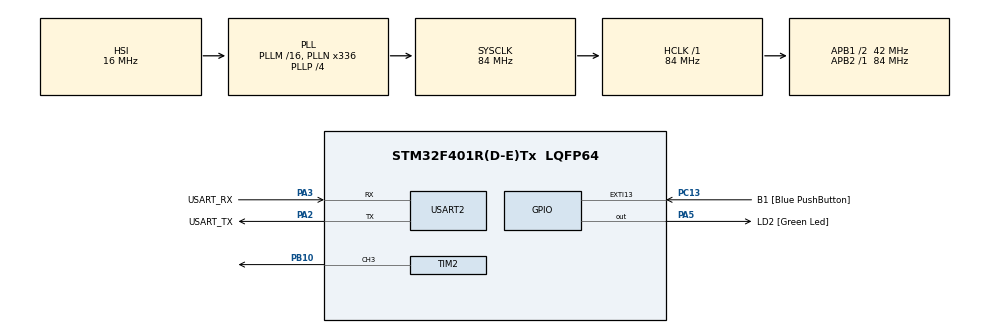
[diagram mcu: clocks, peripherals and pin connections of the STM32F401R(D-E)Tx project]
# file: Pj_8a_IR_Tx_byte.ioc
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Mcu.Family=STM32F4
Mcu.Name=STM32F401R(D-E)Tx
Mcu.Package=LQFP64
NVIC.PriorityGroup=NVIC_PRIORITYGROUP_0
NVIC.TIM3_IRQn=true\:0\:0\:false\:false\:true\:true\:true\:true
PA13.GPIO_Label=TMS
PA13.Mode=Serial_Wire
PA13.Signal=SYS_JTMS-SWDIO
PA14.GPIO_Label=TCK
PA14.Mode=Serial_Wire
PA14.Signal=SYS_JTCK-SWCLK
PA2.GPIO_Label=USART_TX
PA2.GPIO_Mode=GPIO_MODE_AF_PP
PA2.GPIO_PuPd=GPIO_NOPULL
PA2.GPIO_Speed=GPIO_SPEED_FREQ_LOW
PA2.Mode=Asynchronous
PA2.Signal=USART2_TX
PA3.GPIO_Label=USART_RX
PA3.GPIO_Mode=GPIO_MODE_AF_PP
PA3.GPIO_PuPd=GPIO_NOPULL
PA3.GPIO_Speed=GPIO_SPEED_FREQ_LOW
PA3.Mode=Asynchronous
PA3.Signal=USART2_RX
PA5.GPIO_Label=LD2 [Green Led]
PA5.GPIO_Mode=GPIO_MODE_OUTPUT_PP
PA5.GPIO_PuPd=GPIO_NOPULL
PA5.GPIO_Speed=GPIO_SPEED_FREQ_LOW
PA5.Signal=GPIO_Output
PB10.Signal=S_TIM2_CH3
PB3.GPIO_Label=SWO
PB3.Signal=SYS_JTDO-SWO
PC13-ANTI_TAMP.GPIO_Label=B1 [Blue PushButton]
PC13-ANTI_TAMP.GPIO_ModeDefaultEXTI=GPIO_MODE_IT_FALLING
PC13-ANTI_TAMP.GPIO_PuPd=GPIO_NOPULL
PC13-ANTI_TAMP.Signal=GPXTI13
PC14-OSC32_IN.Mode=LSE-External-Oscillator
PC14-OSC32_IN.Signal=RCC_OSC32_IN
PC15-OSC32_OUT.Mode=LSE-External-Oscillator
PC15-OSC32_OUT.Signal=RCC_OSC32_OUT
PH0\ -\ OSC_IN.Mode=HSE-External-Clock-Source
PH0\ -\ OSC_IN.Signal=RCC_OSC_IN
PH1\ -\ OSC_OUT.Mode=HSE-External-Clock-Source
PH1\ -\ OSC_OUT.Signal=RCC_OSC_OUT
ProjectManager.HeapSize=0x200
ProjectManager.StackSize=0x400
ProjectManager.TargetToolchain=STM32CubeIDE
RCC.48MHZClocksFreq_Value=48000000
RCC.AHBFreq_Value=84000000
RCC.APB1CLKDivider=RCC_HCLK_DIV2
RCC.APB1Freq_Value=42000000
RCC.APB1TimFreq_Value=84000000
RCC.APB2Freq_Value=84000000
RCC.APB2TimFreq_Value=84000000
RCC.CortexFreq_Value=84000000
RCC.HCLKFreq_Value=84000000
RCC.HSE_VALUE=8000000
RCC.HSI_VALUE=16000000
RCC.PLLN=336
RCC.PLLP=RCC_PLLP_DIV4
RCC.PLLQ=7
RCC.SYSCLKFreq_VALUE=84000000
RCC.SYSCLKSource=RCC_SYSCLKSOURCE_PLLCLK
RCC.VCOOutputFreq_Value=336000000
SH.S_TIM2_CH3.0=TIM2_CH3,PWM Generation3 CH3
TIM2.Channel-PWM\ Generation3\ CH3=TIM_CHANNEL_3
TIM2.Period=2210-1
TIM2.Pulse-PWM\ Generation3\ CH3=1105-1
TIM3.Period=35000-1
USART2.VirtualMode=VM_ASYNC
VP_TIM2_VS_ClockSourceINT.Mode=Internal
VP_TIM3_VS_ClockSourceINT.Mode=Internal
board=NUCLEO-F401RE

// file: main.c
/* USER CODE BEGIN Header */
/**
  ******************************************************************************
  * @file           : main.c
  * @brief          : Main program body
  ******************************************************************************
  * @attention
  *
  * Copyright (c) 2024 STMicroelectronics.
  * All rights reserved.
  *
  * This software is licensed under terms that can be found in the LICENSE file
  * in the root directory of this software component.
  * If no LICENSE file comes with this software, it is provided AS-IS.
  *
  ******************************************************************************
  */
/* USER CODE END Header */
#include "main.h"

/* USER CODE BEGIN Includes */

#include "stdio.h"
#include "string.h"

/* USER CODE END Includes */

TIM_HandleTypeDef htim2;
TIM_HandleTypeDef htim3;

UART_HandleTypeDef huart2;

/* USER CODE BEGIN PV */

int i = 0;

char c = 'S';

/* USER CODE END PV */

void SystemClock_Config(void);
static void MX_GPIO_Init(void);
static void MX_USART2_UART_Init(void);
static void MX_TIM2_Init(void);
static void MX_TIM3_Init(void);

/* USER CODE BEGIN 0 */

void IR_UART_Transmit_byte(){

	__HAL_TIM_CLEAR_IT(&htim3, TIM_IT_UPDATE);  //start TIM3
	HAL_TIM_Base_Start_IT(&htim3);

	HAL_TIM_PWM_Start(&htim2, TIM_CHANNEL_3); //start PWM of TIM2 to send start bit

	i = 0;

}

void HAL_TIM_PeriodElapsedCallback (TIM_HandleTypeDef *htim) { //count every (1/2400)s

	if (htim == &htim3) {

		if(i == 8){
			HAL_TIM_PWM_Stop(&htim2, TIM_CHANNEL_3); //stop PWM to send stop bit
			HAL_TIM_Base_Stop_IT(&htim3); //end of transmission => stop TIM3

		}else{

			if(c & (1<<i)){ //scorri bits del character: se 1 => mando 0 == stop PWM e viceversa
				HAL_TIM_PWM_Stop(&htim2, TIM_CHANNEL_3);
			}else{
				HAL_TIM_PWM_Start(&htim2, TIM_CHANNEL_3);
			}

			i++;

		}
	}
}

/* USER CODE END 0 */

int main(void)
{

  /* MCU Configuration--------------------------------------------------------*/

  /* Reset of all peripherals, Initializes the Flash interface and the Systick. */
  HAL_Init();

  /* Configure the system clock */
  SystemClock_Config();

  /* Initialize all configured peripherals */
  MX_GPIO_Init();
  MX_USART2_UART_Init();
  MX_TIM2_Init();
  MX_TIM3_Init();
  /* USER CODE BEGIN 2 */

  IR_UART_Transmit_byte();

  /* USER CODE END 2 */

  /* Infinite loop */
  while (1)
  {

  }
}

void SystemClock_Config(void)
{
  RCC_OscInitTypeDef RCC_OscInitStruct = {0};
  RCC_ClkInitTypeDef RCC_ClkInitStruct = {0};

  /** Configure the main internal regulator output voltage
  */
  __HAL_RCC_PWR_CLK_ENABLE();
  __HAL_PWR_VOLTAGESCALING_CONFIG(PWR_REGULATOR_VOLTAGE_SCALE2);

  /** Initializes the RCC Oscillators according to the specified parameters
  * in the RCC_OscInitTypeDef structure.
  */
  RCC_OscInitStruct.OscillatorType = RCC_OSCILLATORTYPE_HSI;
  RCC_OscInitStruct.HSIState = RCC_HSI_ON;
  RCC_OscInitStruct.HSICalibrationValue = RCC_HSICALIBRATION_DEFAULT;
  RCC_OscInitStruct.PLL.PLLState = RCC_PLL_ON;
  RCC_OscInitStruct.PLL.PLLSource = RCC_PLLSOURCE_HSI;
  RCC_OscInitStruct.PLL.PLLM = 16;
  RCC_OscInitStruct.PLL.PLLN = 336;
  RCC_OscInitStruct.PLL.PLLP = RCC_PLLP_DIV4;
  RCC_OscInitStruct.PLL.PLLQ = 7;
  if (HAL_RCC_OscConfig(&RCC_OscInitStruct) != HAL_OK)
  {
    Error_Handler();
  }

  /** Initializes the CPU, AHB and APB buses clocks
  */
  RCC_ClkInitStruct.ClockType = RCC_CLOCKTYPE_HCLK|RCC_CLOCKTYPE_SYSCLK
                              |RCC_CLOCKTYPE_PCLK1|RCC_CLOCKTYPE_PCLK2;
  RCC_ClkInitStruct.SYSCLKSource = RCC_SYSCLKSOURCE_PLLCLK;
  RCC_ClkInitStruct.AHBCLKDivider = RCC_SYSCLK_DIV1;
  RCC_ClkInitStruct.APB1CLKDivider = RCC_HCLK_DIV2;
  RCC_ClkInitStruct.APB2CLKDivider = RCC_HCLK_DIV1;

  if (HAL_RCC_ClockConfig(&RCC_ClkInitStruct, FLASH_LATENCY_2) != HAL_OK)
  {
    Error_Handler();
  }
}

static void MX_TIM2_Init(void)
{

  TIM_ClockConfigTypeDef sClockSourceConfig = {0};
  TIM_MasterConfigTypeDef sMasterConfig = {0};
  TIM_OC_InitTypeDef sConfigOC = {0};

  htim2.Instance = TIM2;
  htim2.Init.Prescaler = 0;
  htim2.Init.CounterMode = TIM_COUNTERMODE_UP;
  htim2.Init.Period = 2210-1;
  htim2.Init.ClockDivision = TIM_CLOCKDIVISION_DIV1;
  htim2.Init.AutoReloadPreload = TIM_AUTORELOAD_PRELOAD_DISABLE;
  if (HAL_TIM_Base_Init(&htim2) != HAL_OK)
  {
    Error_Handler();
  }
  sClockSourceConfig.ClockSource = TIM_CLOCKSOURCE_INTERNAL;
  if (HAL_TIM_ConfigClockSource(&htim2, &sClockSourceConfig) != HAL_OK)
  {
    Error_Handler();
  }
  if (HAL_TIM_PWM_Init(&htim2) != HAL_OK)
  {
    Error_Handler();
  }
  sMasterConfig.MasterOutputTrigger = TIM_TRGO_RESET;
  sMasterConfig.MasterSlaveMode = TIM_MASTERSLAVEMODE_DISABLE;
  if (HAL_TIMEx_MasterConfigSynchronization(&htim2, &sMasterConfig) != HAL_OK)
  {
    Error_Handler();
  }
  sConfigOC.OCMode = TIM_OCMODE_PWM1;
  sConfigOC.Pulse = 1105-1;
  sConfigOC.OCPolarity = TIM_OCPOLARITY_HIGH;
  sConfigOC.OCFastMode = TIM_OCFAST_DISABLE;
  if (HAL_TIM_PWM_ConfigChannel(&htim2, &sConfigOC, TIM_CHANNEL_3) != HAL_OK)
  {
    Error_Handler();
  }
  HAL_TIM_MspPostInit(&htim2);

}

static void MX_TIM3_Init(void)
{

  TIM_ClockConfigTypeDef sClockSourceConfig = {0};
  TIM_MasterConfigTypeDef sMasterConfig = {0};

  htim3.Instance = TIM3;
  htim3.Init.Prescaler = 0;
  htim3.Init.CounterMode = TIM_COUNTERMODE_UP;
  htim3.Init.Period = 35000-1;
  htim3.Init.ClockDivision = TIM_CLOCKDIVISION_DIV1;
  htim3.Init.AutoReloadPreload = TIM_AUTORELOAD_PRELOAD_DISABLE;
  if (HAL_TIM_Base_Init(&htim3) != HAL_OK)
  {
    Error_Handler();
  }
  sClockSourceConfig.ClockSource = TIM_CLOCKSOURCE_INTERNAL;
  if (HAL_TIM_ConfigClockSource(&htim3, &sClockSourceConfig) != HAL_OK)
  {
    Error_Handler();
  }
  sMasterConfig.MasterOutputTrigger = TIM_TRGO_RESET;
  sMasterConfig.MasterSlaveMode = TIM_MASTERSLAVEMODE_DISABLE;
  if (HAL_TIMEx_MasterConfigSynchronization(&htim3, &sMasterConfig) != HAL_OK)
  {
    Error_Handler();
  }

}

static void MX_USART2_UART_Init(void)
{

  huart2.Instance = USART2;
  huart2.Init.BaudRate = 115200;
  huart2.Init.WordLength = UART_WORDLENGTH_8B;
  huart2.Init.StopBits = UART_STOPBITS_1;
  huart2.Init.Parity = UART_PARITY_NONE;
  huart2.Init.Mode = UART_MODE_TX_RX;
  huart2.Init.HwFlowCtl = UART_HWCONTROL_NONE;
  huart2.Init.OverSampling = UART_OVERSAMPLING_16;
  if (HAL_UART_Init(&huart2) != HAL_OK)
  {
    Error_Handler();
  }

}

static void MX_GPIO_Init(void)
{
  GPIO_InitTypeDef GPIO_InitStruct = {0};

  /* GPIO Ports Clock Enable */
  __HAL_RCC_GPIOC_CLK_ENABLE();
  __HAL_RCC_GPIOH_CLK_ENABLE();
  __HAL_RCC_GPIOA_CLK_ENABLE();
  __HAL_RCC_GPIOB_CLK_ENABLE();

  /*Configure GPIO pin Output Level */
  HAL_GPIO_WritePin(LD2_GPIO_Port, LD2_Pin, GPIO_PIN_RESET);

  /*Configure GPIO pin : B1_Pin */
  GPIO_InitStruct.Pin = B1_Pin;
  GPIO_InitStruct.Mode = GPIO_MODE_IT_FALLING;
  GPIO_InitStruct.Pull = GPIO_NOPULL;
  HAL_GPIO_Init(B1_GPIO_Port, &GPIO_InitStruct);

  /*Configure GPIO pin : LD2_Pin */
  GPIO_InitStruct.Pin = LD2_Pin;
  GPIO_InitStruct.Mode = GPIO_MODE_OUTPUT_PP;
  GPIO_InitStruct.Pull = GPIO_NOPULL;
  GPIO_InitStruct.Speed = GPIO_SPEED_FREQ_LOW;
  HAL_GPIO_Init(LD2_GPIO_Port, &GPIO_InitStruct);

}

void Error_Handler(void)
{
  __disable_irq();
  while (1)
  {
  }
}
